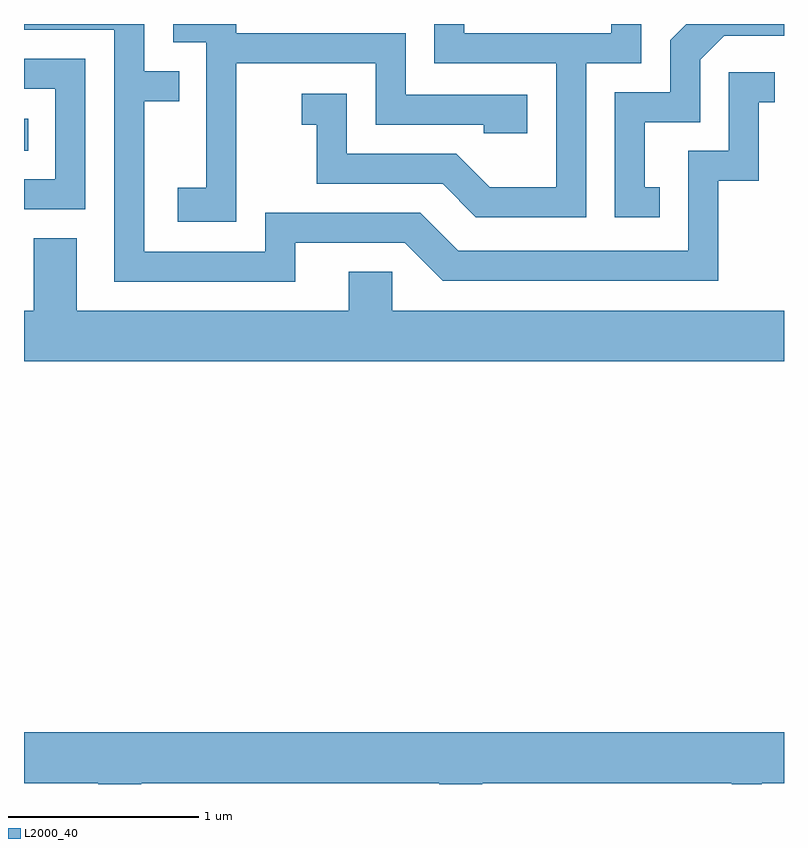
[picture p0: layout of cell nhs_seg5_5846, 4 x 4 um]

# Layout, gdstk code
import gdstk
lib = gdstk.Library(unit=1e-6, precision=1e-09)
def R(c, l, rs):  # rectangles x0, y0, x1, y1
    for r in rs: c.add(gdstk.rectangle(r[:2], r[2:], *l))
def P(c, l, *ps):  # polygons
    for p in ps: c.add(gdstk.Polygon(p, *l))
L2000_40 = (2000, 40)

nhs_seg5_5846 = lib.new_cell('nhs_seg5_5846')
R(nhs_seg5_5846, L2000_40, [(357.611,1513.406,357.633,1513.574)])
P(nhs_seg5_5846, L2000_40, [(358.729,1513.866),(359.461,1513.866),(359.461,1513.541),(360.031,1513.541),(360.031,1513.496),(360.259,1513.496),(360.259,1513.699),(359.619,1513.699),(359.619,1514.024),(358.729,1514.024),(358.729,1514.072),(358.396,1514.072),(358.396,1513.976),(358.571,1513.976),(358.571,1513.209),(358.421,1513.209),(358.421,1513.031),(358.729,1513.031)],
  [(359.039,1512.921),(359.614,1512.921),(359.814,1512.721),(361.264,1512.721),(361.264,1513.246),(361.479,1513.246),(361.479,1513.661),(361.563,1513.661),(361.563,1513.819),(361.321,1513.819),(361.321,1513.404),(361.106,1513.404),(361.106,1512.879),(359.897,1512.879),(359.697,1513.079),(358.881,1513.079),(358.881,1512.874),(358.244,1512.874),(358.244,1513.666),(358.428,1513.666),(358.428,1513.824),(358.244,1513.824),(358.244,1514.072),(357.611,1514.072),(357.611,1514.041),(358.086,1514.041),(358.086,1512.716),(359.039,1512.716)],
  [(360.958,1513.214),(360.879,1513.214),(360.879,1513.556),(361.169,1513.556),(361.169,1513.884),(361.297,1514.011),(361.611,1514.011),(361.611,1514.072),(361.096,1514.072),(361.011,1513.987),(361.011,1513.714),(360.721,1513.714),(360.721,1513.056),(360.958,1513.056)],
  [(360.569,1513.866),(360.859,1513.866),(360.859,1514.072),(360.701,1514.072),(360.701,1514.024),(359.929,1514.024),(359.929,1514.072),(359.771,1514.072),(359.771,1513.866),(360.411,1513.866),(360.411,1513.214),(360.062,1513.214),(359.887,1513.389),(359.309,1513.389),(359.309,1513.704),(359.073,1513.704),(359.073,1513.541),(359.151,1513.541),(359.151,1513.231),(359.814,1513.231),(359.989,1513.056),(360.569,1513.056)],
  [(357.934,1513.889),(357.611,1513.889),(357.611,1513.731),(357.776,1513.731),(357.776,1513.254),(357.611,1513.254),(357.611,1513.096),(357.934,1513.096)],
  [(361.611,1512.564),(359.549,1512.564),(359.549,1512.769),(359.321,1512.769),(359.321,1512.564),(357.889,1512.564),(357.889,1512.944),(357.661,1512.944),(357.661,1512.564),(357.611,1512.564),(357.611,1512.296),(361.611,1512.296)],
  [(358.229,1510.076),(359.796,1510.076),(359.796,1510.072),(360.024,1510.072),(360.024,1510.076),(361.336,1510.076),(361.336,1510.072),(361.494,1510.072),(361.494,1510.076),(361.611,1510.076),(361.611,1510.344),(357.611,1510.344),(357.611,1510.076),(358.001,1510.076),(358.001,1510.072),(358.229,1510.072)])

lib.write_gds('nhs_seg5_5846.gds')
